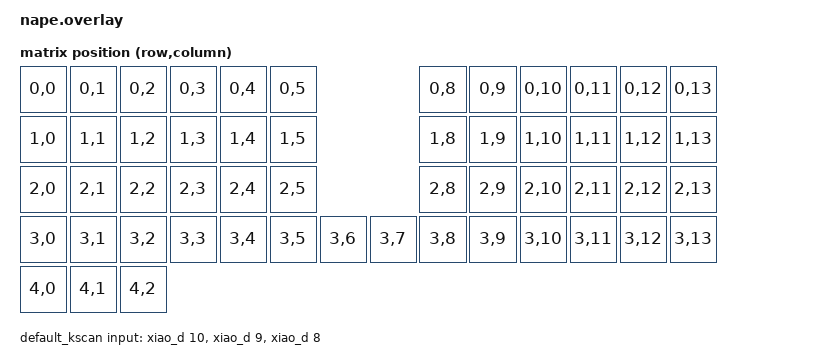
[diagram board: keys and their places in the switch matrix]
#include <dt-bindings/zmk/matrix_transform.h>
#include <zephyr/dt-bindings/gpio/gpio.h>
#include <zephyr/dt-bindings/pinctrl/nrf-pinctrl.h>
#include <zephyr/dt-bindings/input/input-event-codes.h>
#include <dt-bindings/zmk/input_transform.h>
#include <input/processors.dtsi>

/ {
    chosen {
        zmk,kscan = &default_kscan;
        zmk,physical-layout = &physical_layout0;
    };

    default_kscan: kscan {
        compatible = "zmk,kscan-gpio-direct";
        status = "okay";
        wakeup-source;

        // Napeの表面3キー：現在のGPIO順を維持
        input-gpios =
            <&xiao_d 10 (GPIO_PULL_UP | GPIO_ACTIVE_LOW)>,
            <&xiao_d 9  (GPIO_PULL_UP | GPIO_ACTIVE_LOW)>,
            <&xiao_d 8  (GPIO_PULL_UP | GPIO_ACTIVE_LOW)>;
    };

    physical_layout0: physical_layout_0 {
        compatible = "zmk,physical-layout";
        display-name = "Nape Peripheral";
        kscan = <&default_kscan>;
        transform = <&default_transform>;
    };

    default_transform: keymap_transform0 {
        compatible = "zmk,matrix-transform";
        rows = <5>;
        columns = <14>;
        row-offset = <4>;

        map = <
RC(0,0) RC(0,1) RC(0,2) RC(0,3) RC(0,4) RC(0,5)                 RC(0,8) RC(0,9) RC(0,10) RC(0,11) RC(0,12) RC(0,13)
RC(1,0) RC(1,1) RC(1,2) RC(1,3) RC(1,4) RC(1,5)                 RC(1,8) RC(1,9) RC(1,10) RC(1,11) RC(1,12) RC(1,13)
RC(2,0) RC(2,1) RC(2,2) RC(2,3) RC(2,4) RC(2,5)                 RC(2,8) RC(2,9) RC(2,10) RC(2,11) RC(2,12) RC(2,13)
RC(3,0) RC(3,1) RC(3,2) RC(3,3) RC(3,4) RC(3,5) RC(3,6) RC(3,7) RC(3,8) RC(3,9) RC(3,10) RC(3,11) RC(3,12) RC(3,13)

// Nape: positions 50, 51, 52
RC(4,0) RC(4,1) RC(4,2)
        >;
    };

    split_inputs {
        #address-cells = <1>;
        #size-cells = <0>;

        nape_split: nape_split@1 {
            compatible = "zmk,input-split";
            reg = <1>;
            device = <&trackball>;

            // 270度配置：元の270度回転＋X反転と同じ軸変換
            input-processors = <&zip_xy_transform INPUT_TRANSFORM_XY_SWAP>;
        };
    };
};

&pinctrl {
    spi0_default: spi0_default {
        group1 {
            psels = <NRF_PSEL(SPIM_SCK, 0, 5)>,
                    <NRF_PSEL(SPIM_MOSI, 0, 4)>,
                    <NRF_PSEL(SPIM_MISO, 0, 4)>;
        };
    };

    spi0_sleep: spi0_sleep {
        group1 {
            psels = <NRF_PSEL(SPIM_SCK, 0, 5)>,
                    <NRF_PSEL(SPIM_MOSI, 0, 4)>,
                    <NRF_PSEL(SPIM_MISO, 0, 4)>;
            low-power-enable;
        };
    };
};

&xiao_serial { status = "disabled"; };

&spi0 {
    status = "okay";
    compatible = "nordic,nrf-spim";
    pinctrl-0 = <&spi0_default>;
    pinctrl-1 = <&spi0_sleep>;
    pinctrl-names = "default", "sleep";
    cs-gpios = <&xiao_d 6 (GPIO_ACTIVE_LOW | GPIO_PULL_UP)>;

    trackball: trackball@0 {
        status = "okay";
        compatible = "pixart,pmw3610-alt";
        reg = <0>;
        spi-max-frequency = <2000000>;
        irq-gpios = <&xiao_d 0 (GPIO_ACTIVE_LOW | GPIO_PULL_UP)>;
        cpi = <800>;

        evt-type = <INPUT_EV_REL>;
        x-input-code = <INPUT_REL_X>;
        y-input-code = <INPUT_REL_Y>;
    };
};
